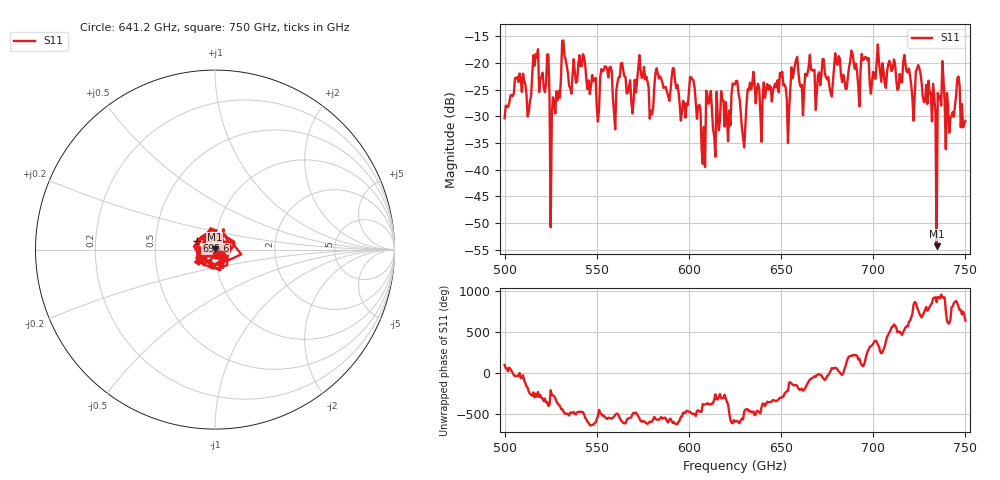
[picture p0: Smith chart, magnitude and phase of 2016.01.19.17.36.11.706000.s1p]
!Created with skrf (http://scikit-rf.org).
# GHz S RI R 50.0
!freq ReS11 ImS11
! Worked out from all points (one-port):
!   401 points, 500 GHz to 750 GHz, reference 50 ohm
!   lowest |S11| = -54.3 dB at 734.4 GHz (marker M1), VSWR 1.00, Z = 49.8 + j0.0957 ohm
!   |S11| at or under -10 dB: start of sweep to end of sweep
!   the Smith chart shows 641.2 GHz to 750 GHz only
!   S11 on the Smith chart (normalised r, x): 641.2 GHz: 1.07, -0.06; 695.6 GHz: 0.81, +0.08; 750 GHz: 1.01, -0.06
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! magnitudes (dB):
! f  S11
! 500 GHz  -30.4
! 506.9 GHz  -22.6
! 513.1 GHz  -29.2
! 516.9 GHz  -18.4
! 523.1 GHz  -18.4
! 526.2 GHz  -26.5
! 531.2 GHz  -15.9
! 550 GHz  -28.3
! 556.2 GHz  -22.7
! 560 GHz  -32.5
! 562.5 GHz  -22.7
! 593.8 GHz  -24.1
! 601.9 GHz  -23.1
! 607.5 GHz  -38.9
! 610.6 GHz  -27.7
! 615 GHz  -25.4
! 625 GHz  -24.1
! 629.4 GHz  -34.1
! 633.8 GHz  -25.0
! 641.2 GHz  -26.5
! 653.8 GHz  -35.0
! 656.2 GHz  -22.9
! 687.5 GHz  -19.7
! 695.6 GHz  -18.9
! 718.8 GHz  -21.8
! 734.4 GHz  -54.3
! 736.9 GHz  -28.0
! 750 GHz  -30.9
